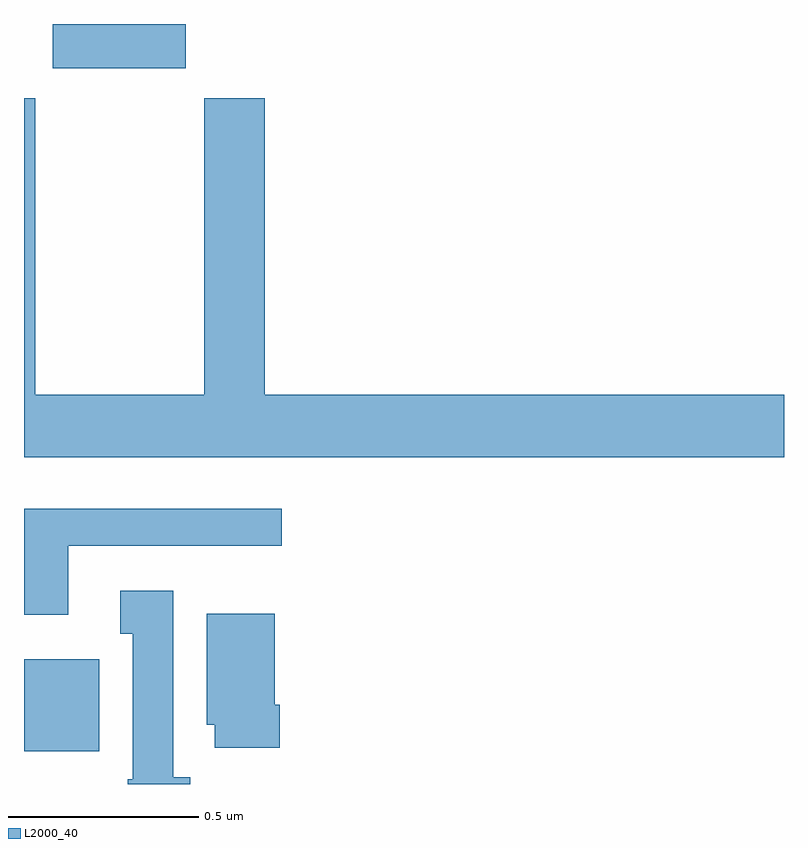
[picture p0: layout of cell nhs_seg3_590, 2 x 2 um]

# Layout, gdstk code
import gdstk
lib = gdstk.Library(unit=1e-6, precision=1e-09)
def R(c, l, rs):  # rectangles x0, y0, x1, y1
    for r in rs: c.add(gdstk.rectangle(r[:2], r[2:], *l))
def P(c, l, *ps):  # polygons
    for p in ps: c.add(gdstk.Polygon(p, *l))
L2000_40 = (2000, 40)

nhs_seg3_590 = lib.new_cell('nhs_seg3_590')
R(nhs_seg3_590, L2000_40, [(118.001,689.486,118.198,689.728), (118.076,691.283,118.426,691.4)])
P(nhs_seg3_590, L2000_40, [(120,690.424),(118.634,690.424),(118.634,691.204),(118.474,691.204),(118.474,690.424),(118.029,690.424),(118.029,691.204),(118,691.204),(118,690.26),(120,690.26)],
  [(118.117,690.027),(118.678,690.027),(118.678,690.124),(118,690.124),(118,689.846),(118.117,689.846)],
  [(118.438,689.418),(118.393,689.418),(118.393,689.908),(118.253,689.908),(118.253,689.795),(118.286,689.795),(118.286,689.412),(118.273,689.412),(118.273,689.4),(118.438,689.4)],
  [(118.673,689.608),(118.66,689.608),(118.66,689.848),(118.481,689.848),(118.481,689.556),(118.502,689.556),(118.502,689.496),(118.673,689.496)])

lib.write_gds('nhs_seg3_590.gds')
